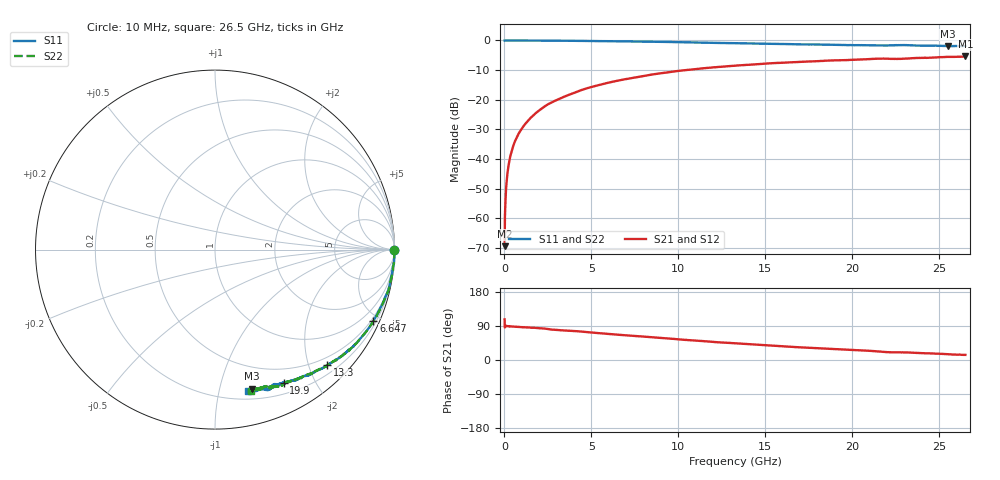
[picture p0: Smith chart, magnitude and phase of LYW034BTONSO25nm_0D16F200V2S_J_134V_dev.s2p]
!Keysight Technologies,N5222B,MY61253708,A.15.00.15
!Date: Wednesday, June 19, 2024 09:59:14
!Correction: S11(C  2-Port  )
!S21(C  2-Port  )
!S12(C  2-Port  )
!S22(C  2-Port  )
!S2P File: Measurements: S11, S21, S12, S22:
# Hz S  RI  R 50
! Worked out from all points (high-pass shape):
!   2651 points, 10 MHz to 26.5 GHz, reference 50 ohm
!   highest |S21| = -5.40 dB at 26.5 GHz (marker M1); lowest = -69.4 dB at 10 MHz (marker M2)
!   |S21| within 3 dB of the highest: 13.55 GHz to end of sweep
!   lowest |S11| = -1.9 dB at 25.5 GHz (marker M3), VSWR 9.02, Z = 14.6 - j62.7 ohm
!   |S11| at or under -10 dB: nowhere
!   |S22| runs from -1.9 to 0.0 dB; largest |S21 - S12| = 0.0062
!   S11 on the Smith chart (normalised r, x): 10 MHz: open; 6.647 GHz: 0.36, -4.62; 13.3 GHz: 0.35, -2.32; 19.9 GHz: 0.32, -1.59; 26.5 GHz: 0.27, -1.22
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1e7  0.9984 -0.00292  -0.0001 0.000322  0.000116 0.000212  0.9986 -0.00139
7.997358e7  0.9999 -0.00573  -1.03e-05 0.00262  2.62e-05 0.00265  0.9994 -0.00519
1.499472e8  0.9999 -0.0107  2.37e-05 0.00495  5.95e-05 0.00496  0.9996 -0.01
1.899321e8  1 -0.0128  9.9e-05 0.00626  8.73e-05 0.00628  0.9999 -0.0119
2.499094e8  0.9995 -0.0171  0.000116 0.0082  0.000129 0.00827  0.9995 -0.0162
3.498717e8  0.9996 -0.0238  0.000261 0.0115  0.000271 0.0116  0.9997 -0.0228
4.798226e8  0.9988 -0.0324  0.000493 0.0158  0.000479 0.0159  0.9984 -0.0311
6.397623e8  0.9987 -0.0426  0.000905 0.021  0.000891 0.0211  0.9986 -0.0412
8.196943e8  0.9979 -0.0546  0.00141 0.0268  0.0014 0.0269  0.9978 -0.0531
1.449457e9  0.9909 -0.0972  0.00345 0.0476  0.00347 0.0477  0.9931 -0.0928
2.329125e9  0.9823 -0.1508  0.00974 0.077  0.00993 0.0775  0.9836 -0.1504
3.198796e9  0.9716 -0.206  0.0206 0.1029  0.0209 0.1035  0.972 -0.2042
4.428332e9  0.9432 -0.2795  0.0378 0.1406  0.0382 0.1413  0.9456 -0.2753
6.647494e9  0.8824 -0.3987  0.0857 0.1956  0.0869 0.1961  0.8849 -0.3963
8.846664e9  0.8049 -0.5011  0.1433 0.2357  0.1447 0.2362  0.8083 -0.4974
1.3255e10  0.6296 -0.6417  0.27 0.2608  0.2719 0.2604  0.6365 -0.6383
1.330498e10  0.6267 -0.6439  0.2719 0.2609  0.2734 0.26  0.6322 -0.6393
1.767333e10  0.458 -0.722  0.3763 0.234  0.3793 0.232  0.4724 -0.7182
1.990249e10  0.3827 -0.7434  0.4209 0.2101  0.4232 0.2068  0.3983 -0.7396
2.209166e10  0.3224 -0.7556  0.4594 0.1727  0.4609 0.1694  0.3209 -0.7614
2.550038e10  0.2034 -0.7741  0.5091 0.1365  0.5102 0.1355  0.2278 -0.7771
2.65e10  0.1836 -0.7877  0.5225 0.125  0.5217 0.121  0.2015 -0.7868
